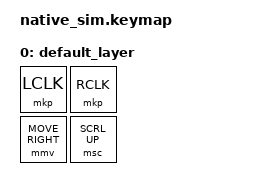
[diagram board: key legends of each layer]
#include <behaviors.dtsi>
#include <dt-bindings/zmk/kscan_mock.h>
#include <dt-bindings/zmk/pointing.h>

/ {
    keymap {
        compatible = "zmk,keymap";

        default_layer {
            bindings = <
                &mkp LCLK       &mkp RCLK
                &mmv MOVE_RIGHT &msc SCRL_UP
            >;
        };
    };
};

&mkp_input_listener {
    input-processors = <&esb_relay_pointer>;
};

&mmv_input_listener {
    input-processors = <&esb_relay_pointer>;
};

&msc_input_listener {
    input-processors = <&esb_relay_pointer>;
};

&kscan {
    /delete-property/ exit-after;
    events = <
        ZMK_MOCK_PRESS(0,0,50)
        ZMK_MOCK_PRESS(0,1,50)
        ZMK_MOCK_RELEASE(0,0,50)
        ZMK_MOCK_RELEASE(0,1,50)
        ZMK_MOCK_PRESS(0,0,0)
        ZMK_MOCK_RELEASE(0,0,50)
        ZMK_MOCK_PRESS(1,0,100)
        ZMK_MOCK_RELEASE(1,0,50)
        ZMK_MOCK_PRESS(1,1,300)
        ZMK_MOCK_RELEASE(1,1,10)
    >;
};
